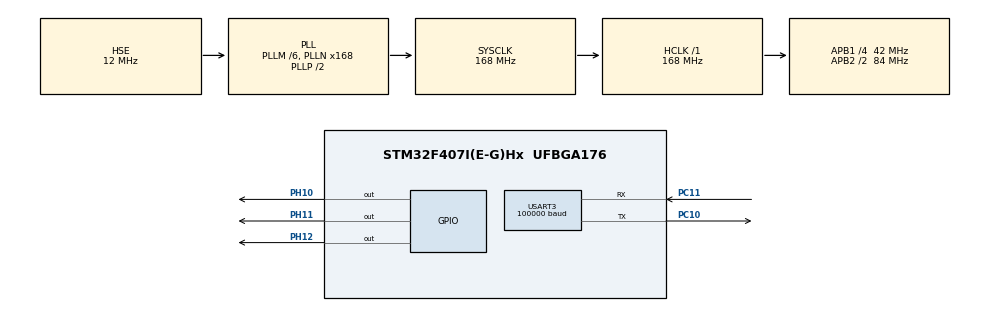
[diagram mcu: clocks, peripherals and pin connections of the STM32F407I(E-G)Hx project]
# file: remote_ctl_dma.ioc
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Dma.Request0=USART3_RX
Dma.USART3_RX.0.Direction=DMA_PERIPH_TO_MEMORY
Dma.USART3_RX.0.FIFOMode=DMA_FIFOMODE_DISABLE
Dma.USART3_RX.0.Instance=DMA1_Stream1
Dma.USART3_RX.0.MemDataAlignment=DMA_MDATAALIGN_BYTE
Dma.USART3_RX.0.MemInc=DMA_MINC_ENABLE
Dma.USART3_RX.0.Mode=DMA_CIRCULAR
Dma.USART3_RX.0.PeriphDataAlignment=DMA_PDATAALIGN_BYTE
Dma.USART3_RX.0.PeriphInc=DMA_PINC_DISABLE
Dma.USART3_RX.0.Priority=DMA_PRIORITY_HIGH
FREERTOS.Tasks01=LEDTask,0,128,led_task,As weak,NULL,Dynamic,NULL,NULL
Mcu.Family=STM32F4
Mcu.Name=STM32F407I(E-G)Hx
Mcu.Package=UFBGA176
NVIC.DMA1_Stream1_IRQn=true\:5\:0\:false\:false\:true\:true\:false\:true\:true
NVIC.PriorityGroup=NVIC_PRIORITYGROUP_4
NVIC.TIM8_TRG_COM_TIM14_IRQn=true\:15\:0\:false\:false\:true\:false\:false\:true\:true
NVIC.TimeBase=TIM8_TRG_COM_TIM14_IRQn
NVIC.TimeBaseIP=TIM14
NVIC.USART3_IRQn=true\:5\:0\:false\:false\:true\:true\:true\:true\:true
PA13.Mode=Serial_Wire
PA13.Signal=SYS_JTMS-SWDIO
PA14.Mode=Serial_Wire
PA14.Signal=SYS_JTCK-SWCLK
PC10.Mode=Asynchronous
PC10.Signal=USART3_TX
PC11.Mode=Asynchronous
PC11.Signal=USART3_RX
PH0-OSC_IN.Mode=HSE-External-Oscillator
PH0-OSC_IN.Signal=RCC_OSC_IN
PH1-OSC_OUT.Mode=HSE-External-Oscillator
PH1-OSC_OUT.Signal=RCC_OSC_OUT
PH10.GPIO_PuPd=GPIO_PULLDOWN
PH10.Signal=GPIO_Output
PH11.GPIO_ModeDefaultOutputPP=GPIO_MODE_OUTPUT_PP
PH11.GPIO_PuPd=GPIO_PULLDOWN
PH11.Signal=GPIO_Output
PH12.GPIO_PuPd=GPIO_PULLDOWN
PH12.Signal=GPIO_Output
ProjectManager.HeapSize=0x200
ProjectManager.StackSize=0x400
ProjectManager.TargetToolchain=MDK-ARM V5.32
RCC.48MHZClocksFreq_Value=84000000
RCC.AHBFreq_Value=168000000
RCC.APB1CLKDivider=RCC_HCLK_DIV4
RCC.APB1Freq_Value=42000000
RCC.APB1TimFreq_Value=84000000
RCC.APB2CLKDivider=RCC_HCLK_DIV2
RCC.APB2Freq_Value=84000000
RCC.APB2TimFreq_Value=168000000
RCC.CortexFreq_Value=168000000
RCC.HCLKFreq_Value=168000000
RCC.HSE_VALUE=12000000
RCC.HSI_VALUE=16000000
RCC.LSE_VALUE=32768
RCC.PLLM=6
RCC.PLLN=168
RCC.PLLSourceVirtual=RCC_PLLSOURCE_HSE
RCC.SYSCLKFreq_VALUE=168000000
RCC.SYSCLKSource=RCC_SYSCLKSOURCE_PLLCLK
RCC.VCOOutputFreq_Value=336000000
USART3.BaudRate=100000
USART3.Parity=PARITY_EVEN
USART3.VirtualMode=VM_ASYNC
USART3.WordLength=WORDLENGTH_9B
VP_FREERTOS_VS_CMSIS_V1.Mode=CMSIS_V1
VP_SYS_VS_tim14.Mode=TIM14
board=custom

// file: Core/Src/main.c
/* USER CODE BEGIN Header */
/**
  ******************************************************************************
  * @file           : main.c
  * @brief          : Main program body
  ******************************************************************************
  * @attention
  *
  * Copyright (c) 2025 STMicroelectronics.
  * All rights reserved.
  *
  * This software is licensed under terms that can be found in the LICENSE file
  * in the root directory of this software component.
  * If no LICENSE file comes with this software, it is provided AS-IS.
  *
  ******************************************************************************
  */
/* USER CODE END Header */
#include "main.h"
#include "cmsis_os.h"
#include "dma.h"
#include "usart.h"
#include "gpio.h"

/* USER CODE BEGIN Includes */
#include "CTL.h"

/* USER CODE END Includes */

/* USER CODE BEGIN PV */
extern rc_info_t rc;
extern uint8_t buf[buf_len];
/* USER CODE END PV */

void SystemClock_Config(void);
void MX_FREERTOS_Init(void);
/* USER CODE BEGIN PFP */
void dma_init(void){
  HAL_UART_Receive_DMA(&dbus_huart, (uint8_t *)buf, buf_len);
}

void led_task(void const * argument){

	while(1){
		if (rc.s1 == 1){
		   HAL_GPIO_WritePin(GPIOH,GPIO_PIN_10,GPIO_PIN_SET);
		   HAL_GPIO_WritePin(GPIOH,GPIO_PIN_11,GPIO_PIN_RESET);
		   HAL_GPIO_WritePin(GPIOH,GPIO_PIN_12,GPIO_PIN_RESET);
		}
		else if (rc.s1 == 2){
		   HAL_GPIO_WritePin(GPIOH,GPIO_PIN_10,GPIO_PIN_RESET);
		   HAL_GPIO_WritePin(GPIOH,GPIO_PIN_11,GPIO_PIN_SET);
		   HAL_GPIO_WritePin(GPIOH,GPIO_PIN_12,GPIO_PIN_RESET);
		}
		else if (rc.s1 == 3){
		   HAL_GPIO_WritePin(GPIOH,GPIO_PIN_10,GPIO_PIN_RESET);
		   HAL_GPIO_WritePin(GPIOH,GPIO_PIN_11,GPIO_PIN_RESET);
		   HAL_GPIO_WritePin(GPIOH,GPIO_PIN_12,GPIO_PIN_SET);
		}
        osDelay(50);
    }
}

/* USER CODE END PFP */

int main(void)
{

  /* MCU Configuration--------------------------------------------------------*/

  /* Reset of all peripherals, Initializes the Flash interface and the Systick. */
  HAL_Init();

  /* Configure the system clock */
  SystemClock_Config();

  /* Initialize all configured peripherals */
  MX_GPIO_Init();
  MX_DMA_Init();
  MX_USART3_UART_Init();
  /* USER CODE BEGIN 2 */
  dma_init();
  /* USER CODE END 2 */

  /* Call init function for freertos objects (in freertos.c) */
  MX_FREERTOS_Init();

  /* Start scheduler */
  osKernelStart();

  /* We should never get here as control is now taken by the scheduler */
  /* Infinite loop */
  while (1)
  {

  }
}

void SystemClock_Config(void)
{
  RCC_OscInitTypeDef RCC_OscInitStruct = {0};
  RCC_ClkInitTypeDef RCC_ClkInitStruct = {0};

  /** Configure the main internal regulator output voltage
  */
  __HAL_RCC_PWR_CLK_ENABLE();
  __HAL_PWR_VOLTAGESCALING_CONFIG(PWR_REGULATOR_VOLTAGE_SCALE1);

  /** Initializes the RCC Oscillators according to the specified parameters
  * in the RCC_OscInitTypeDef structure.
  */
  RCC_OscInitStruct.OscillatorType = RCC_OSCILLATORTYPE_HSE;
  RCC_OscInitStruct.HSEState = RCC_HSE_ON;
  RCC_OscInitStruct.PLL.PLLState = RCC_PLL_ON;
  RCC_OscInitStruct.PLL.PLLSource = RCC_PLLSOURCE_HSE;
  RCC_OscInitStruct.PLL.PLLM = 6;
  RCC_OscInitStruct.PLL.PLLN = 168;
  RCC_OscInitStruct.PLL.PLLP = RCC_PLLP_DIV2;
  RCC_OscInitStruct.PLL.PLLQ = 4;
  if (HAL_RCC_OscConfig(&RCC_OscInitStruct) != HAL_OK)
  {
    Error_Handler();
  }

  /** Initializes the CPU, AHB and APB buses clocks
  */
  RCC_ClkInitStruct.ClockType = RCC_CLOCKTYPE_HCLK|RCC_CLOCKTYPE_SYSCLK
                              |RCC_CLOCKTYPE_PCLK1|RCC_CLOCKTYPE_PCLK2;
  RCC_ClkInitStruct.SYSCLKSource = RCC_SYSCLKSOURCE_PLLCLK;
  RCC_ClkInitStruct.AHBCLKDivider = RCC_SYSCLK_DIV1;
  RCC_ClkInitStruct.APB1CLKDivider = RCC_HCLK_DIV4;
  RCC_ClkInitStruct.APB2CLKDivider = RCC_HCLK_DIV2;

  if (HAL_RCC_ClockConfig(&RCC_ClkInitStruct, FLASH_LATENCY_5) != HAL_OK)
  {
    Error_Handler();
  }
}

void HAL_TIM_PeriodElapsedCallback(TIM_HandleTypeDef *htim)
{
  if (htim->Instance == TIM14) {
    HAL_IncTick();
  }
}

void Error_Handler(void)
{
  __disable_irq();
  while (1)
  {
  }
}

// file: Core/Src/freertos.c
/* USER CODE BEGIN Header */
/**
  ******************************************************************************
  * File Name          : freertos.c
  * Description        : Code for freertos applications
  ******************************************************************************
  * @attention
  *
  * Copyright (c) 2025 STMicroelectronics.
  * All rights reserved.
  *
  * This software is licensed under terms that can be found in the LICENSE file
  * in the root directory of this software component.
  * If no LICENSE file comes with this software, it is provided AS-IS.
  *
  ******************************************************************************
  */
/* USER CODE END Header */

#include "FreeRTOS.h"
#include "task.h"
#include "main.h"
#include "cmsis_os.h"

osThreadId LEDTaskHandle;

void led_task(void const * argument);

void MX_FREERTOS_Init(void); /* (MISRA C 2004 rule 8.1) */

/* GetIdleTaskMemory prototype (linked to static allocation support) */
void vApplicationGetIdleTaskMemory( StaticTask_t **ppxIdleTaskTCBBuffer, StackType_t **ppxIdleTaskStackBuffer, uint32_t *pulIdleTaskStackSize );

/* USER CODE BEGIN GET_IDLE_TASK_MEMORY */
static StaticTask_t xIdleTaskTCBBuffer;
static StackType_t xIdleStack[configMINIMAL_STACK_SIZE];

void vApplicationGetIdleTaskMemory( StaticTask_t **ppxIdleTaskTCBBuffer, StackType_t **ppxIdleTaskStackBuffer, uint32_t *pulIdleTaskStackSize )
{
  *ppxIdleTaskTCBBuffer = &xIdleTaskTCBBuffer;
  *ppxIdleTaskStackBuffer = &xIdleStack[0];
  *pulIdleTaskStackSize = configMINIMAL_STACK_SIZE;
  /* place for user code */
}
/* USER CODE END GET_IDLE_TASK_MEMORY */

void MX_FREERTOS_Init(void) {

  /* Create the thread(s) */
  /* definition and creation of LEDTask */
  osThreadDef(LEDTask, led_task, osPriorityNormal, 0, 128);
  LEDTaskHandle = osThreadCreate(osThread(LEDTask), NULL);

}

__weak void led_task(void const * argument)
{
  /* USER CODE BEGIN led_task */
  /* Infinite loop */
  for(;;)
  {
    osDelay(50);
  }
  /* USER CODE END led_task */
}
